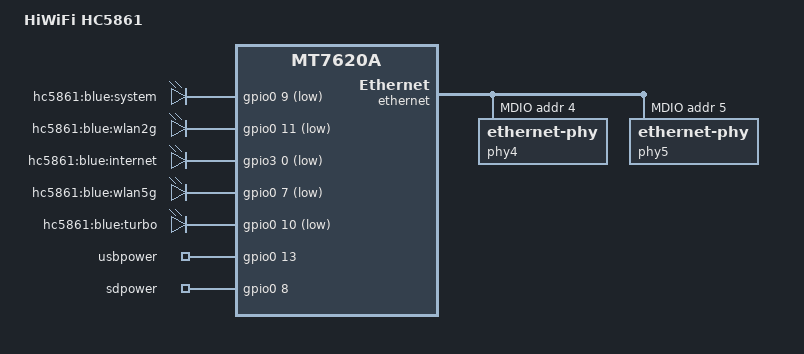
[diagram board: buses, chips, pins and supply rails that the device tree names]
/dts-v1/;

#include "HC5XXX.dtsi"

/ {
	compatible = "HC5861", "ralink,mt7620a-soc";
	model = "HiWiFi HC5861";

	gpio-leds {
		compatible = "gpio-leds";

		system {
			label = "hc5861:blue:system";
			gpios = <&gpio0 9 1>;
		};

		wlan2g {
			label = "hc5861:blue:wlan2g";
			gpios = <&gpio0 11 1>;
		};

		internet {
			label = "hc5861:blue:internet";
			gpios = <&gpio3 0 1>;
		};

		wlan5g {
			label = "hc5861:blue:wlan5g";
			gpios = <&gpio0 7 1>;
		};

		turbo {
			label = "hc5861:blue:turbo";
			gpios = <&gpio0 10 1>;
		};
	};

	gpio_export {
		compatible = "gpio-export";
		#size-cells = <0>;

		usbpower {
			gpio-export,name = "usbpower";
			gpio-export,output = <0>;
			gpios = <&gpio0 13 0>;
		};

		sdpower {
			gpio-export,name = "sdpower";
			gpio-export,output = <0>;
			gpios = <&gpio0 8 0>;
		};
	};
};

&ethernet {
	status = "okay";
	mtd-mac-address = <&factory 0x4>;
	pinctrl-names = "default";
	pinctrl-0 = <&rgmii1_pins &rgmii2_pins &mdio_pins>;
	mediatek,portmap = "wllll";

	port@4 {
		status = "okay";
		phy-handle = <&phy4>;
		phy-mode = "rgmii";
	};

	port@5 {
		status = "okay";
		phy-handle = <&phy5>;
		phy-mode = "rgmii";
	};

	mdio-bus {
		status = "okay";

		phy4: ethernet-phy@4 {
			reg = <4>;
			phy-mode = "rgmii";
		};

		phy5: ethernet-phy@5 {
			reg = <5>;
			phy-mode = "rgmii";
		};
	};
};

&gsw {
	mediatek,port4 = "gmac";
};
